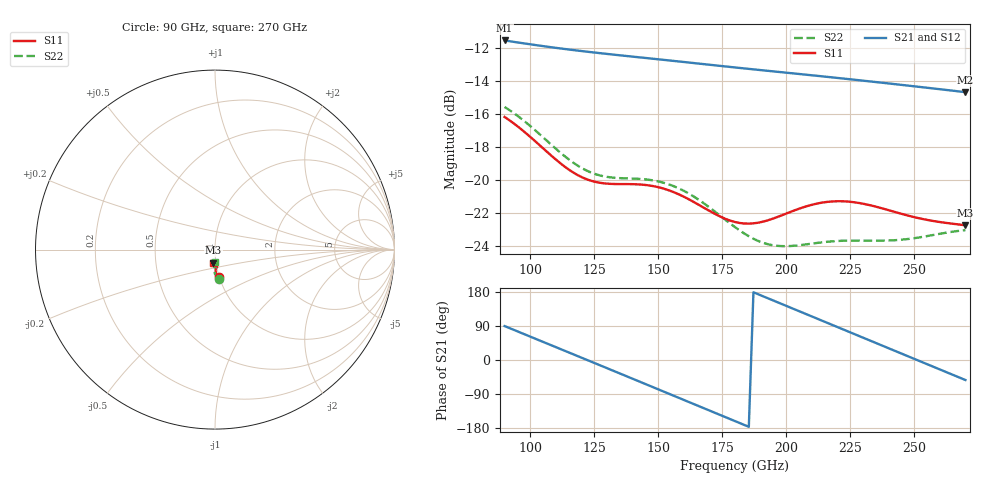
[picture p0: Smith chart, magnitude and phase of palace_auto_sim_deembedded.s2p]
! Created with skrf 1.11.0 (http://scikit-rf.org).
# GHz S DB R 50.0
!freq dBS11 angS11 dBS21 angS21 dBS12 angS12 dBS22 angS22
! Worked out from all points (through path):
!   101 points, 90 GHz to 270 GHz, reference 50 ohm
!   highest |S21| = -11.56 dB at 90 GHz (marker M1); lowest = -14.7 dB at 270 GHz (marker M2)
!   group delay of S21, straight-line fit = 7.76 ps
!   lowest |S11| = -22.7 dB at 270 GHz (marker M3), VSWR 1.16, Z = 48.5 - j7.05 ohm
!   |S11| at or under -10 dB: start of sweep to end of sweep
!   |S22| runs from -24.0 to -15.6 dB; largest |S21 - S12| = 2.2e-13
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90  -16.19 -82.3  -11.56 89.5  -11.56 89.5  -15.59 -82.5
97.2  -17.03 -85.9  -11.73 69.5  -11.73 69.5  -16.38 -86.9
106.2  -18.25 -88.3  -11.93 44.5  -11.93 44.5  -17.59 -90.5
113.4  -19.19 -87.9  -12.08 24.6  -12.08 24.6  -18.56 -91.2
120.6  -19.87 -85.8  -12.21 4.6  -12.21 4.6  -19.32 -90.0
127.8  -20.19 -83.6  -12.34 -15.5  -12.34 -15.5  -19.75 -88.3
135  -20.25 -82.6  -12.46 -35.5  -12.46 -35.5  -19.89 -87.6
144  -20.29 -83.8  -12.61 -60.6  -12.61 -60.6  -19.95 -89.2
151.2  -20.49 -86.0  -12.72 -80.7  -12.72 -80.7  -20.14 -92.1
163.8  -21.33 -89.2  -12.93 -116.0  -12.93 -116.0  -21.00 -97.7
172.8  -22.11 -88.5  -13.08 -141.1  -13.08 -141.1  -22.00 -99.9
180  -22.55 -85.9  -13.20 -161.2  -13.20 -161.2  -22.86 -99.4
187.2  -22.63 -82.5  -13.31 178.7  -13.31 178.7  -23.56 -96.8
194.4  -22.37 -80.1  -13.43 158.6  -13.43 158.6  -23.94 -93.2
203.4  -21.84 -80.0  -13.57 133.4  -13.57 133.4  -23.98 -89.4
210.6  -21.48 -82.0  -13.68 113.3  -13.68 113.3  -23.84 -87.9
217.8  -21.31 -85.0  -13.80 93.1  -13.80 93.1  -23.72 -87.5
225  -21.33 -88.4  -13.91 73.0  -13.91 73.0  -23.67 -87.7
241.2  -21.89 -94.1  -14.19 27.7  -14.19 27.7  -23.66 -87.7
248.4  -22.19 -95.3  -14.31 7.5  -14.31 7.5  -23.56 -87.5
255.6  -22.44 -96.0  -14.44 -12.6  -14.44 -12.6  -23.38 -87.9
270  -22.75 -97.6  -14.69 -52.8  -14.69 -52.8  -23.04 -91.0
